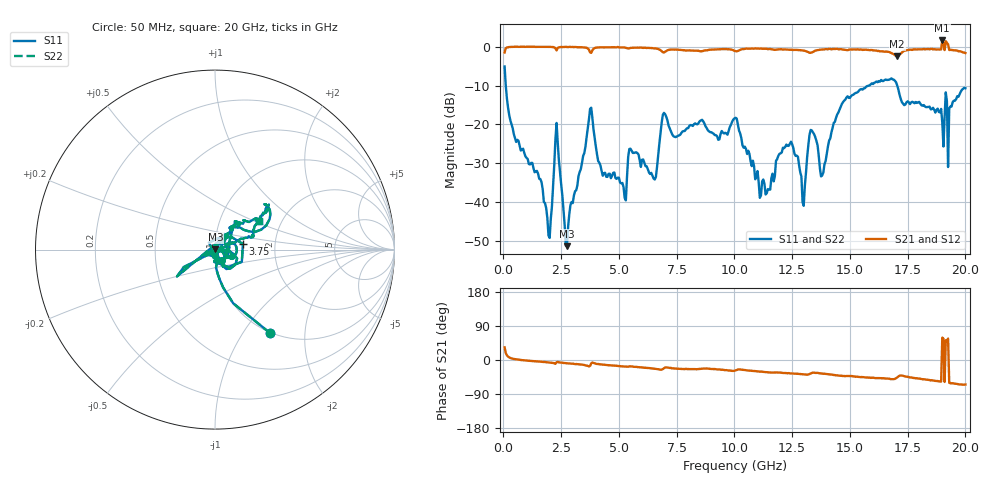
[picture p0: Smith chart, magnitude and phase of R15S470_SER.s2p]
!251R15S470JV4S  Sept, 2006
#	mhz	s	ma	r	50
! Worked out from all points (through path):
!   400 points, 50 MHz to 20 GHz, reference 50 ohm
!   highest |S21| = 1.63 dB at 19 GHz (marker M1); lowest = -2.4 dB at 17.05 GHz (marker M2)
!   lowest |S11| = -51.3 dB at 2.75 GHz (marker M3), VSWR 1.01, Z = 50.2 + j0.13 ohm
!   |S11| at or under -10 dB: 100 MHz to 15.81 GHz (15.71 GHz wide, 197 % of centre); 17.05 GHz to end of sweep
!   |S22| runs from -51.3 to -5.1 dB; largest |S21 - S12| = 0
!   S11 on the Smith chart (normalised r, x): 50 MHz: 0.99, -1.34; 3.75 GHz: 1.37, +0.09; 20 GHz: 1.55, +0.53
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50  0.5583 -56.5  0.8448 33.5  0.8448 33.5  0.5583 -56.5
2000  0.00346 -31.9  0.9983 -6.6  0.9983 -6.6  0.00346 -31.9
2300  0.1046 -19.3  0.8973 -5.7  0.8973 -5.7  0.1046 -19.3
2750  0.00271 28.4  0.9952 -8.7  0.9952 -8.7  0.00271 28.4
3400  0.03195 61.5  0.9854 -12.3  0.9854 -12.3  0.03195 61.5
3750  0.1588 11.5  0.8491 -15.7  0.8491 -15.7  0.1588 11.5
5300  0.01053 -77.9  0.969 -17.4  0.969 -17.4  0.01053 -77.9
6700  0.04041 -12.9  0.9365 -24.3  0.9365 -24.3  0.04041 -12.9
10050  0.1219 -2.9  0.8793 -27.5  0.8793 -27.5  0.1219 -2.9
13000  0.00898 3.0  0.894 -37.9  0.894 -37.9  0.00898 3.0
13350  0.08383 -63.1  0.8458 -34.3  0.8458 -34.3  0.08383 -63.1
13750  0.02144 -70.4  0.9188 -35.2  0.9188 -35.2  0.02144 -70.4
16700  0.3766 41.9  0.8619 -49.3  0.8619 -49.3  0.3766 41.9
17050  0.3157 25.2  0.755 -45.9  0.755 -45.9  0.3157 25.2
18950  0.1586 50.7  0.9254 -57.0  0.9254 -57.0  0.1586 50.7
19000  0.1052 -65.0  1.207 59.1  1.207 59.1  0.1052 -65.0
19050  0.05203 131.6  1.117 56.5  1.117 56.5  0.05203 131.6
19100  0.1244 49.5  0.9059 -58.0  0.9059 -58.0  0.1244 49.5
19150  0.2591 -144.8  1.181 52.3  1.181 52.3  0.2591 -144.8
19250  0.02829 11.4  1.077 56.6  1.077 56.6  0.02829 11.4
19300  0.1617 52.1  0.9083 -60.1  0.9083 -60.1  0.1617 52.1
20000  0.293 32.5  0.8309 -64.7  0.8309 -64.7  0.293 32.5
